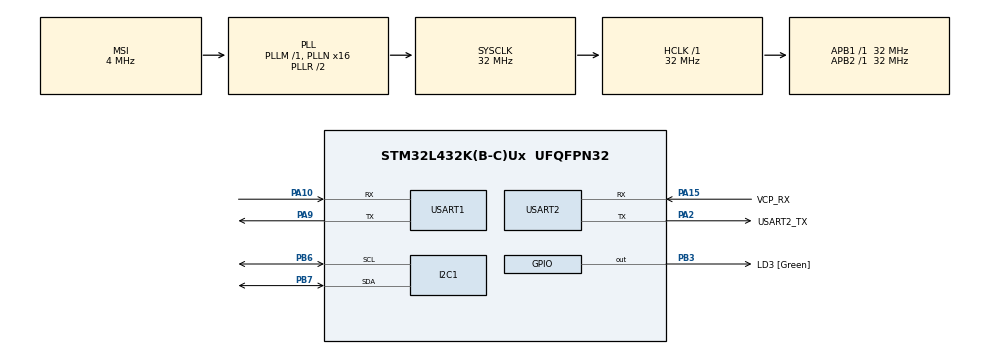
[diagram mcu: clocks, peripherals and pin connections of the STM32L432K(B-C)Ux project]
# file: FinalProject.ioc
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FREERTOS.Tasks01=ChipTemp,24,512,StartChipTemp,Default,NULL,Static,ChipTempBuffer,ChipTempControlBlock;HeartBeats,32,512,StartHeartBeats,Default,NULL,Static,HeartBeatsBuffer,HeartBeatsControlBlock
FREERTOS.configUSE_NEWLIB_REENTRANT=1
I2C1.Timing=0x00707CBB
Mcu.Family=STM32L4
Mcu.Name=STM32L432K(B-C)Ux
Mcu.Package=UFQFPN32
NVIC.PriorityGroup=NVIC_PRIORITYGROUP_4
NVIC.TIM6_DAC_IRQn=true\:15\:0\:false\:false\:true\:false\:false\:true
NVIC.TIM7_IRQn=true\:5\:0\:false\:false\:true\:true\:true\:true
NVIC.TimeBase=TIM6_DAC_IRQn
NVIC.TimeBaseIP=TIM6
NVIC.USART1_IRQn=true\:5\:0\:false\:false\:true\:true\:true\:true
NVIC.USART2_IRQn=true\:5\:0\:false\:false\:true\:true\:true\:true
PA0.GPIO_Label=MCO [High speed clock in]
PA0.Mode=HSE-External-Clock-Source-for-LittleOrca
PA0.Signal=RCC_CK_IN
PA10.Mode=Asynchronous
PA10.Signal=USART1_RX
PA13\ (JTMS-SWDIO).GPIO_Label=SWDIO
PA13\ (JTMS-SWDIO).Mode=Serial_Wire
PA13\ (JTMS-SWDIO).Signal=SYS_JTMS-SWDIO
PA14\ (JTCK-SWCLK).GPIO_Label=SWCLK
PA14\ (JTCK-SWCLK).Mode=Serial_Wire
PA14\ (JTCK-SWCLK).Signal=SYS_JTCK-SWCLK
PA15\ (JTDI).GPIO_Label=VCP_RX
PA15\ (JTDI).Mode=Asynchronous
PA15\ (JTDI).Signal=USART2_RX
PA2.GPIO_Label=USART2_TX
PA2.Mode=Asynchronous
PA2.Signal=USART2_TX
PA9.Mode=Asynchronous
PA9.Signal=USART1_TX
PB3\ (JTDO-TRACESWO).GPIO_Label=LD3 [Green]
PB3\ (JTDO-TRACESWO).Signal=GPIO_Output
PB6.Mode=I2C
PB6.Signal=I2C1_SCL
PB7.Mode=I2C
PB7.Signal=I2C1_SDA
PC14-OSC32_IN\ (PC14).Mode=LSE-External-Oscillator
PC14-OSC32_IN\ (PC14).Signal=RCC_OSC32_IN
PC15-OSC32_OUT\ (PC15).Mode=LSE-External-Oscillator
PC15-OSC32_OUT\ (PC15).Signal=RCC_OSC32_OUT
ProjectManager.HeapSize=0x200
ProjectManager.StackSize=0x400
ProjectManager.TargetToolchain=STM32CubeIDE
RCC.AHBFreq_Value=32000000
RCC.APB1Freq_Value=32000000
RCC.APB1TimFreq_Value=32000000
RCC.APB2Freq_Value=32000000
RCC.APB2TimFreq_Value=32000000
RCC.CortexFreq_Value=32000000
RCC.HCLKFreq_Value=32000000
RCC.HSE_VALUE=8000000
RCC.HSI16_VALUE=16000000
RCC.HSI48_VALUE=48000000
RCC.HSI_VALUE=16000000
RCC.MSI_VALUE=4000000
RCC.PLLMUL=RCC_PLLMUL_4
RCC.PLLN=16
RCC.SYSCLKFreq_VALUE=32000000
RCC.SYSCLKSource=RCC_SYSCLKSOURCE_PLLCLK
RCC.VCOOutputFreq_Value=64000000
TIM7.Period=2 - 1
TIM7.Prescaler=32000 - 1
USART1.VirtualMode-Asynchronous=VM_ASYNC
USART2.VirtualMode-Asynchronous=VM_ASYNC
VP_FREERTOS_VS_CMSIS_V2.Mode=CMSIS_V2
VP_SYS_VS_tim6.Mode=TIM6
VP_TIM7_VS_ClockSourceINT.Mode=Enable_Timer
board=NUCLEO-L432KC

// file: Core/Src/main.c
/* USER CODE BEGIN Header */
/**
 ******************************************************************************
 * @file           : main.c
 * @brief          : Main program body
 ******************************************************************************
 * @attention
 *
 * Copyright (c) 2022 STMicroelectronics.
 * All rights reserved.
 *
 * This software is licensed under terms that can be found in the LICENSE file
 * in the root directory of this software component.
 * If no LICENSE file comes with this software, it is provided AS-IS.
 *
 * @author Stefan Bittgen, ic20b058
 * @date July 03, Year 2022
 *
 * Description:
 * The internal temperature sensor of the HR4 microcontroller
 * (Heart Rate 4 click ) was put into operation and read out via a register.
 * The pulse was also implemented, it is measured whether a finger was detected,
 * if so, the pulse of the subject is calculated and also output. The recorded values
 * are sent via the WiFi module to our web server using POST request. On our
 * web server there is a PHP script which accepts this request. and stores the
 * values in a database on the server.
 *
 * Baudrate: 115200
 *
 ******************************************************************************
 */
/* USER CODE END Header */
#include "main.h"
#include "cmsis_os.h"

/* USER CODE BEGIN Includes */
#include "h4lib.h"
#include <stdbool.h>
#include <stdio.h>
#include <math.h>
#include <string.h>
#include <stdarg.h>
#include "stm32l4xx_hal.h"
#include "WiFi_Click_lib.h"
/* USER CODE END Includes */

typedef StaticTask_t osStaticThreadDef_t;

/* USER CODE BEGIN PD */
#define BUFFERLENGTH 11
#define RATE_SIZE 4							//Increase this for more averaging. 4 is good.
#define USE_SEM
/* USER CODE END PD */

I2C_HandleTypeDef hi2c1;

TIM_HandleTypeDef htim7;

UART_HandleTypeDef huart1;
UART_HandleTypeDef huart2;

/* Definitions for ChipTemp */
osThreadId_t ChipTempHandle;
uint32_t ChipTempBuffer[ 512 ];
osStaticThreadDef_t ChipTempControlBlock;
const osThreadAttr_t ChipTemp_attributes = {
		.name = "ChipTemp",
		.cb_mem = &ChipTempControlBlock,
		.cb_size = sizeof(ChipTempControlBlock),
		.stack_mem = &ChipTempBuffer[0],
		.stack_size = sizeof(ChipTempBuffer),
		.priority = (osPriority_t) osPriorityNormal,
};
/* Definitions for HeartBeats */
osThreadId_t HeartBeatsHandle;
uint32_t HeartBeatsBuffer[ 512 ];
osStaticThreadDef_t HeartBeatsControlBlock;
const osThreadAttr_t HeartBeats_attributes = {
		.name = "HeartBeats",
		.cb_mem = &HeartBeatsControlBlock,
		.cb_size = sizeof(HeartBeatsControlBlock),
		.stack_mem = &HeartBeatsBuffer[0],
		.stack_size = sizeof(HeartBeatsBuffer),
		.priority = (osPriority_t) osPriorityAboveNormal,
};
/* USER CODE BEGIN PV */
unsigned int tim_elapsed = 0; // Basically our global clock/counter; counts upwards in 50ms steps

/* USER CODE END PV */

void SystemClock_Config(void);
static void MX_GPIO_Init(void);
static void MX_USART2_UART_Init(void);
static void MX_I2C1_Init(void);
static void MX_USART1_UART_Init(void);
static void MX_TIM7_Init(void);
void StartChipTemp(void *argument);
void StartHeartBeats(void *argument);

/* USER CODE BEGIN 0 */
uint8_t ringBuffer[BUFFERLENGTH]; // Receive input from the HAL_Uart_Receive() Function
bool read_f = false;
bool stop_f = false;
bool start_f = false;
bool no_finger_f = true;
uint32_t red_sample;

uint32_t rates[RATE_SIZE]; 				 // Array of heart rates
uint32_t rateSpot = 0;
long lastBeat = 0; 					    // Time at which the last beat occurred
uint16_t delta = 0;
float beatsPerMinute;
uint32_t beatAvg;
uint16_t timer_val;

// Print given character on UART 2. Translate '\n' to "\r\n" on the fly.
int __io_putchar(int ch) {
	int ret;
	while ((ret = HAL_UART_GetState(&huart2)) != HAL_UART_STATE_READY)
		;
	if (ch == '\n') {
		static uint8_t buf[2] = {'\r', '\n'};
		HAL_UART_Transmit_IT(&huart2, buf, sizeof(buf));
	} else {
		static char buf;
		buf = ch;
		HAL_UART_Transmit_IT(&huart2, (uint8_t *)&buf, 1);
	}
	return ch;
}

// So we do not use the printf on the stdio but bend it to UART */
int _write(int file, char *ptr, int len)
{
	for (int DataIdx = 0; DataIdx < len; DataIdx++) {
		__io_putchar(*ptr++);
	}
	return len;
}
/* USER CODE END 0 */

int main(void)
{

	/* MCU Configuration--------------------------------------------------------*/

	/* Reset of all peripherals, Initializes the Flash interface and the Systick. */
	HAL_Init();

	/* Configure the system clock */
	SystemClock_Config();

	/* Initialize all configured peripherals */
	MX_GPIO_Init();
	MX_USART2_UART_Init();
	MX_I2C1_Init();
	MX_USART1_UART_Init();
	MX_TIM7_Init();
	/* USER CODE BEGIN 2 */

	// Setup register heart rate module
	hr4_set_registers(hi2c1);

	// Connect to the wifi
	wifi_click_init();

	/* USER CODE END 2 */

	/* Init scheduler */
	osKernelInitialize();

	/* Create the thread(s) */
	/* creation of ChipTemp */
	ChipTempHandle = osThreadNew(StartChipTemp, NULL, &ChipTemp_attributes);

	/* creation of HeartBeats */
	HeartBeatsHandle = osThreadNew(StartHeartBeats, NULL, &HeartBeats_attributes);

	/* Start scheduler */
	osKernelStart();

	/* We should never get here as control is now taken by the scheduler */
	/* Infinite loop */
	while (1)
	{

	}
}

void SystemClock_Config(void)
{
	RCC_OscInitTypeDef RCC_OscInitStruct = {0};
	RCC_ClkInitTypeDef RCC_ClkInitStruct = {0};

	/** Configure the main internal regulator output voltage
	 */
	if (HAL_PWREx_ControlVoltageScaling(PWR_REGULATOR_VOLTAGE_SCALE1) != HAL_OK)
	{
		Error_Handler();
	}
	/** Configure LSE Drive Capability
	 */
	HAL_PWR_EnableBkUpAccess();
	__HAL_RCC_LSEDRIVE_CONFIG(RCC_LSEDRIVE_LOW);
	/** Initializes the RCC Oscillators according to the specified parameters
	 * in the RCC_OscInitTypeDef structure.
	 */
	RCC_OscInitStruct.OscillatorType = RCC_OSCILLATORTYPE_LSE|RCC_OSCILLATORTYPE_MSI;
	RCC_OscInitStruct.LSEState = RCC_LSE_ON;
	RCC_OscInitStruct.MSIState = RCC_MSI_ON;
	RCC_OscInitStruct.MSICalibrationValue = 0;
	RCC_OscInitStruct.MSIClockRange = RCC_MSIRANGE_6;
	RCC_OscInitStruct.PLL.PLLState = RCC_PLL_ON;
	RCC_OscInitStruct.PLL.PLLSource = RCC_PLLSOURCE_MSI;
	RCC_OscInitStruct.PLL.PLLM = 1;
	RCC_OscInitStruct.PLL.PLLN = 16;
	RCC_OscInitStruct.PLL.PLLP = RCC_PLLP_DIV7;
	RCC_OscInitStruct.PLL.PLLQ = RCC_PLLQ_DIV2;
	RCC_OscInitStruct.PLL.PLLR = RCC_PLLR_DIV2;
	if (HAL_RCC_OscConfig(&RCC_OscInitStruct) != HAL_OK)
	{
		Error_Handler();
	}
	/** Initializes the CPU, AHB and APB buses clocks
	 */
	RCC_ClkInitStruct.ClockType = RCC_CLOCKTYPE_HCLK|RCC_CLOCKTYPE_SYSCLK
			|RCC_CLOCKTYPE_PCLK1|RCC_CLOCKTYPE_PCLK2;
	RCC_ClkInitStruct.SYSCLKSource = RCC_SYSCLKSOURCE_PLLCLK;
	RCC_ClkInitStruct.AHBCLKDivider = RCC_SYSCLK_DIV1;
	RCC_ClkInitStruct.APB1CLKDivider = RCC_HCLK_DIV1;
	RCC_ClkInitStruct.APB2CLKDivider = RCC_HCLK_DIV1;

	if (HAL_RCC_ClockConfig(&RCC_ClkInitStruct, FLASH_LATENCY_1) != HAL_OK)
	{
		Error_Handler();
	}
	/** Enable MSI Auto calibration
	 */
	HAL_RCCEx_EnableMSIPLLMode();
}

static void MX_I2C1_Init(void)
{

	hi2c1.Instance = I2C1;
	hi2c1.Init.Timing = 0x00707CBB;
	hi2c1.Init.OwnAddress1 = 0;
	hi2c1.Init.AddressingMode = I2C_ADDRESSINGMODE_7BIT;
	hi2c1.Init.DualAddressMode = I2C_DUALADDRESS_DISABLE;
	hi2c1.Init.OwnAddress2 = 0;
	hi2c1.Init.OwnAddress2Masks = I2C_OA2_NOMASK;
	hi2c1.Init.GeneralCallMode = I2C_GENERALCALL_DISABLE;
	hi2c1.Init.NoStretchMode = I2C_NOSTRETCH_DISABLE;
	if (HAL_I2C_Init(&hi2c1) != HAL_OK)
	{
		Error_Handler();
	}
	/** Configure Analogue filter
	 */
	if (HAL_I2CEx_ConfigAnalogFilter(&hi2c1, I2C_ANALOGFILTER_ENABLE) != HAL_OK)
	{
		Error_Handler();
	}
	/** Configure Digital filter
	 */
	if (HAL_I2CEx_ConfigDigitalFilter(&hi2c1, 0) != HAL_OK)
	{
		Error_Handler();
	}

}

static void MX_TIM7_Init(void)
{

	TIM_MasterConfigTypeDef sMasterConfig = {0};

	htim7.Instance = TIM7;
	htim7.Init.Prescaler = 32000 - 1;
	htim7.Init.CounterMode = TIM_COUNTERMODE_UP;
	htim7.Init.Period = 2 - 1;
	htim7.Init.AutoReloadPreload = TIM_AUTORELOAD_PRELOAD_DISABLE;
	if (HAL_TIM_Base_Init(&htim7) != HAL_OK)
	{
		Error_Handler();
	}
	sMasterConfig.MasterOutputTrigger = TIM_TRGO_RESET;
	sMasterConfig.MasterSlaveMode = TIM_MASTERSLAVEMODE_DISABLE;
	if (HAL_TIMEx_MasterConfigSynchronization(&htim7, &sMasterConfig) != HAL_OK)
	{
		Error_Handler();
	}

}

static void MX_USART1_UART_Init(void)
{

	huart1.Instance = USART1;
	huart1.Init.BaudRate = 115200;
	huart1.Init.WordLength = UART_WORDLENGTH_8B;
	huart1.Init.StopBits = UART_STOPBITS_1;
	huart1.Init.Parity = UART_PARITY_NONE;
	huart1.Init.Mode = UART_MODE_TX_RX;
	huart1.Init.HwFlowCtl = UART_HWCONTROL_NONE;
	huart1.Init.OverSampling = UART_OVERSAMPLING_16;
	huart1.Init.OneBitSampling = UART_ONE_BIT_SAMPLE_DISABLE;
	huart1.AdvancedInit.AdvFeatureInit = UART_ADVFEATURE_NO_INIT;
	if (HAL_UART_Init(&huart1) != HAL_OK)
	{
		Error_Handler();
	}

}

static void MX_USART2_UART_Init(void)
{

	huart2.Instance = USART2;
	huart2.Init.BaudRate = 115200;
	huart2.Init.WordLength = UART_WORDLENGTH_8B;
	huart2.Init.StopBits = UART_STOPBITS_1;
	huart2.Init.Parity = UART_PARITY_NONE;
	huart2.Init.Mode = UART_MODE_TX_RX;
	huart2.Init.HwFlowCtl = UART_HWCONTROL_NONE;
	huart2.Init.OverSampling = UART_OVERSAMPLING_16;
	huart2.Init.OneBitSampling = UART_ONE_BIT_SAMPLE_DISABLE;
	huart2.AdvancedInit.AdvFeatureInit = UART_ADVFEATURE_NO_INIT;
	if (HAL_UART_Init(&huart2) != HAL_OK)
	{
		Error_Handler();
	}

}

static void MX_GPIO_Init(void)
{
	GPIO_InitTypeDef GPIO_InitStruct = {0};

	/* GPIO Ports Clock Enable */
	__HAL_RCC_GPIOC_CLK_ENABLE();
	__HAL_RCC_GPIOA_CLK_ENABLE();
	__HAL_RCC_GPIOB_CLK_ENABLE();

	/*Configure GPIO pin Output Level */
	HAL_GPIO_WritePin(LD3_GPIO_Port, LD3_Pin, GPIO_PIN_RESET);

	/*Configure GPIO pin : LD3_Pin */
	GPIO_InitStruct.Pin = LD3_Pin;
	GPIO_InitStruct.Mode = GPIO_MODE_OUTPUT_PP;
	GPIO_InitStruct.Pull = GPIO_NOPULL;
	GPIO_InitStruct.Speed = GPIO_SPEED_FREQ_LOW;
	HAL_GPIO_Init(LD3_GPIO_Port, &GPIO_InitStruct);

}

void StartChipTemp(void *argument)
{
	/* USER CODE BEGIN 5 */
	/* USER CODE BEGIN WHILE */

	/* Infinite loop */
	for(;;)
	{

		osDelay(50000); // TODO: Cannot delete TASK 'StartChipTemp'

	}
	/* USER CODE END 5 */
}

void StartHeartBeats(void *argument)
{
	/* USER CODE BEGIN StartHeartBeats */
	/* Infinite loop */
	for(;;)
	{

		//Fifo is ready -> If an interrupt is set, it would be better to check the interrupt pin
		if(hr4_is_new_fifo_data_ready(hi2c1) != 0) // returns 1 is ready
		{
			read_f = false;

			// red_sample = Read RED sensor data = check if finger is on sensor
			// Sensor actually only measures whether a finger has just been recognized or a pulse detected. If this is the case, a value > 200k is displayed.
			// What follows now is that we make a time measurement in which time intervals a pulse has occurred. For our purposes, the pulse is measured 4x times.
			red_sample = hr4_read_red(hi2c1);

			// If sample pulse amplitude is under threshold value ( proximity mode )
			if ( red_sample > 0 && red_sample < 32000 )
			{
				stop_f = true;

				if ( no_finger_f )
				{

					// We do nothing more in this program due to time constraints here.
					char *noPulse ="\r\n -> No pulse was detected <-\r\n";

					if (HAL_UART_Transmit(&huart2, (uint8_t *) noPulse, strlen(noPulse), 1000) == HAL_ERROR)
					{
						Error_Handler();
					}

				}

				no_finger_f = true;

			} else if( red_sample != 0) // If finger is detected ( we are in active heart rate mode )
			{
				stop_f = false;

				bool ratesNotFinishedYet = true;

				while (ratesNotFinishedYet) {

					// Start timer
					if(HAL_TIM_Base_GetState(&htim7) == HAL_TIM_STATE_READY) //TODO: Delete Timer, because Timer with interrupt is not working with Rtos
					{

						HAL_TIM_Base_Start_IT(&htim7);

					}

					// Get current time
					timer_val = tim_elapsed;
					//timer_val = __HAL_TIM_GET_COUNTER(&htim7);
					//	  					timer_val = HAL_GetTick();
					delta = timer_val - lastBeat;					//Measure duration between two beats
					uint8_t str_tmps[50] ="";

					//  osDelay(500);
					HAL_Delay(500);

					lastBeat = timer_val;

					beatsPerMinute = 60 / (delta / 1000.0);					//Calculating the BPM

					if (beatsPerMinute < 255 && beatsPerMinute > 20)
					{
						rates[rateSpot++] = (uint8_t)beatsPerMinute;
						rateSpot %= RATE_SIZE; //Wrap variable
						if(rates[3] != 0)
						{
							ratesNotFinishedYet = false;

						}
					}

					HAL_Delay(500);
				}

				//Take average of readings
				beatAvg = 0;
				for (uint8_t x = 0; x < RATE_SIZE ; x++)
				{
					beatAvg += rates[x];
				}

				beatAvg /= RATE_SIZE;

				// Get Temperature from chip	//
				int temp = hr4_get_chipTemp(hi2c1, huart2);

				uint8_t str_tmp[21] ="";
				char *temperature = "\r\nTemperature: ";

				// Print pulse value
				if (HAL_UART_Transmit(&huart2, (uint8_t *) temperature, strlen(temperature), 1000) == HAL_ERROR)
				{
					Error_Handler();
				}
				// Nonblocking Function
				// Print temperature
				if (HAL_UART_Transmit(&huart2, str_tmp, sprintf((char *) str_tmp, "%d\n\r", (int) temp), 1000) == HAL_ERROR)
				{
					Error_Handler();
				}

				char *pulseValue = "\r\nPulse value: ";
				uint8_t str_hr[7] ="";

				// Print pulse value
				if (HAL_UART_Transmit(&huart2, (uint8_t *) pulseValue, strlen(pulseValue), 1000) == HAL_ERROR)
				{
					Error_Handler();
				}

				// Output the value when the finger was detected
				if (HAL_UART_Transmit(&huart2, str_hr, sprintf((char *) str_hr, "%d\n\r", (int) beatAvg), 1000) == HAL_ERROR)
				{
					Error_Handler();
				}

				// Send the Chip-Temperature to our Webserver, and save it in our Database
				wifi_click_send_test(temp, beatAvg);

				no_finger_f = false;

			}
		}

		osDelay(100);

	}

	/* USER CODE END StartHeartBeats */
}

void HAL_TIM_PeriodElapsedCallback(TIM_HandleTypeDef *htim)
{
	/* USER CODE BEGIN Callback 0 */

	// Here the magic happens with our custom clock (which just is a counter)
	// Because we have 32MHZ and use a pre-scaler of 32000 that mans our clock speed is 1ms
	// However because I set the period to 9 the interrupt fires every 10ms and the counter therefore increased in 10ms steps
	if (htim->Instance == TIM7) {
		tim_elapsed += htim->Instance -> ARR + 1; // 9 + 1 = 10 ms to add to the counter
	}

	/* USER CODE END Callback 0 */
	if (htim->Instance == TIM6) {
		HAL_IncTick();
	}
}

void Error_Handler(void)
{
	__disable_irq();
	while (1)
	{
	}
}
